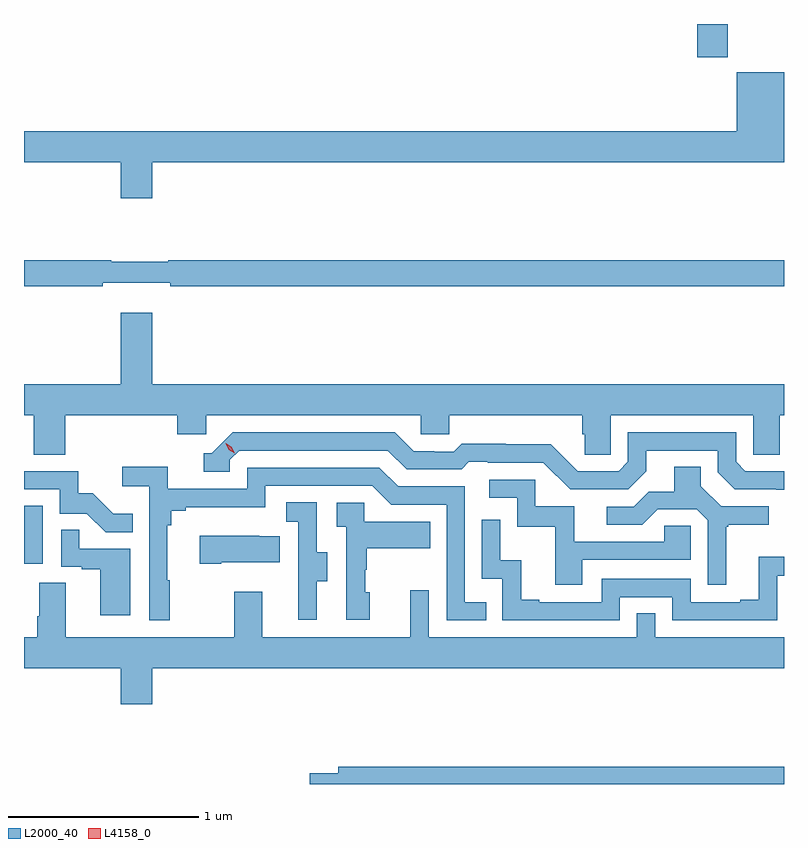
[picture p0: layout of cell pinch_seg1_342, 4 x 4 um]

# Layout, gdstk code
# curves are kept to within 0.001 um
import gdstk
lib = gdstk.Library(unit=1e-6, precision=1e-09)
def R(c, l, rs):  # rectangles x0, y0, x1, y1
    for r in rs: c.add(gdstk.rectangle(r[:2], r[2:], *l))
def P(c, l, *ps):  # polygons
    for p in ps: c.add(gdstk.Polygon(p, *l))
L2000_40 = (2000, 40)
L4158_0 = (4158, 0)

pinch_seg1_342 = lib.new_cell('pinch_seg1_342')
R(pinch_seg1_342, L2000_40, [(955.706,553.614,955.804,553.921), (959.249,556.281,959.409,556.456)])
P(pinch_seg1_342, L2000_40, [(956.38,555.728),(959.706,555.728),(959.706,556.201),(959.456,556.201),(959.456,555.892),(955.706,555.892),(955.706,555.728),(956.216,555.728),(956.216,555.54),(956.38,555.54)],
  [(956.12,555.095),(956.476,555.095),(956.476,555.076),(959.706,555.076),(959.706,555.212),(956.465,555.212),(956.465,555.205),(956.165,555.205),(956.165,555.212),(955.706,555.212),(955.706,555.076),(956.12,555.076)],
  [(955.922,554.396),(956.513,554.396),(956.513,554.298),(956.664,554.298),(956.664,554.396),(957.795,554.396),(957.795,554.298),(957.945,554.298),(957.945,554.396),(958.643,554.396),(958.643,554.298),(958.657,554.298),(958.657,554.188),(958.794,554.188),(958.794,554.396),(959.544,554.396),(959.544,554.188),(959.683,554.188),(959.683,554.396),(959.706,554.396),(959.706,554.56),(956.38,554.56),(956.38,554.935),(956.216,554.935),(956.216,554.56),(955.706,554.56),(955.706,554.396),(955.757,554.396),(955.757,554.188),(955.922,554.188)],
  [(959.706,554.103),(959.502,554.103),(959.454,554.151),(959.454,554.307),(958.884,554.307),(958.884,554.151),(958.836,554.103),(958.62,554.103),(958.478,554.245),(958.242,554.245),(958.242,554.248),(958.009,554.248),(957.967,554.205),(957.864,554.205),(957.864,554.208),(957.757,554.208),(957.658,554.307),(956.805,554.307),(956.694,554.196),(956.651,554.196),(956.651,554.1),(956.79,554.1),(956.79,554.163),(956.838,554.211),(957.621,554.211),(957.72,554.112),(958.009,554.112),(958.048,554.151),(958.147,554.151),(958.147,554.148),(958.44,554.148),(958.581,554.007),(958.887,554.007),(958.981,554.101),(958.981,554.211),(959.358,554.211),(959.358,554.097),(959.448,554.007),(959.706,554.006)],
  [(956.473,553.529),(956.461,553.529),(956.461,553.817),(956.48,553.817),(956.48,553.894),(956.557,553.894),(956.557,553.913),(956.976,553.913),(956.976,554.025),(957.54,554.025),(957.639,553.926),(957.93,553.926),(957.93,553.317),(958.139,553.317),(958.139,553.413),(958.026,553.413),(958.026,554.022),(957.676,554.022),(957.577,554.121),(956.88,554.121),(956.88,554.01),(956.462,554.01),(956.462,554.126),(956.223,554.126),(956.223,554.024),(956.364,554.024),(956.364,553.317),(956.473,553.317)],
  [(959.401,553.809),(959.413,553.809),(959.413,553.82),(959.626,553.82),(959.626,553.917),(959.376,553.917),(959.269,554.024),(959.269,554.126),(959.129,554.126),(959.129,553.994),(958.994,553.994),(958.914,553.914),(958.773,553.914),(958.773,553.821),(958.96,553.821),(959.041,553.902),(959.247,553.902),(959.304,553.845),(959.304,553.506),(959.401,553.506)],
  [(956.279,553.879),(956.175,553.879),(956.068,553.986),(955.992,553.986),(955.992,554.103),(955.706,554.103),(955.706,554.007),(955.893,554.007),(955.893,553.878),(956.037,553.878),(956.135,553.78),(956.279,553.78)],
  [(958.645,553.635),(959.214,553.635),(959.214,553.815),(959.077,553.815),(959.077,553.731),(958.603,553.731),(958.603,553.917),(958.398,553.917),(958.398,554.058),(958.155,554.058),(958.155,553.962),(958.302,553.962),(958.302,553.809),(958.501,553.809),(958.501,553.506),(958.645,553.506)],
  [(957.247,553.522),(957.301,553.522),(957.301,553.677),(957.246,553.677),(957.246,553.94),(957.087,553.94),(957.087,553.837),(957.15,553.837),(957.15,553.533),(957.149,553.533),(957.149,553.32),(957.247,553.32)],
  [(957.526,553.464),(957.501,553.464),(957.501,553.583),(957.511,553.583),(957.511,553.697),(957.845,553.697),(957.845,553.837),(957.498,553.837),(957.498,553.935),(957.351,553.935),(957.351,553.811),(957.402,553.811),(957.402,553.32),(957.526,553.32)],
  [(958.842,553.44),(959.118,553.44),(959.118,553.317),(959.67,553.317),(959.67,553.553),(959.706,553.553),(959.706,553.651),(959.573,553.651),(959.573,553.426),(959.477,553.426),(959.477,553.413),(959.214,553.413),(959.214,553.536),(958.746,553.536),(958.746,553.413),(958.417,553.413),(958.417,553.426),(958.322,553.426),(958.322,553.634),(958.212,553.634),(958.212,553.846),(958.116,553.846),(958.116,553.536),(958.224,553.536),(958.224,553.317),(958.842,553.317)],
  [(956.266,553.695),(955.997,553.695),(955.997,553.793),(955.902,553.793),(955.902,553.599),(956.009,553.599),(956.009,553.587),(956.108,553.587),(956.108,553.344),(956.266,553.344)],
  [(956.743,553.622),(957.053,553.622),(957.053,553.759),(956.945,553.759),(956.945,553.762),(956.631,553.762),(956.631,553.615),(956.743,553.615)],
  [(956.38,553.064),(959.706,553.064),(959.706,553.228),(959.028,553.228),(959.028,553.355),(958.932,553.355),(958.932,553.228),(957.837,553.228),(957.837,553.477),(957.74,553.477),(957.74,553.228),(956.959,553.228),(956.959,553.468),(956.812,553.468),(956.812,553.228),(955.927,553.228),(955.927,553.514),(955.787,553.514),(955.787,553.34),(955.775,553.34),(955.775,553.228),(955.706,553.228),(955.706,553.064),(956.216,553.064),(956.216,552.876),(956.38,552.876)],
  [(959.706,552.548),(957.359,552.548),(957.359,552.512),(957.21,552.512),(957.21,552.456),(959.706,552.456)])
P(pinch_seg1_342, L4158_0, [(956.814,554.197),(956.783,554.216),(956.767,554.249),(956.767,554.249),(956.767,554.249),(956.798,554.23),(956.814,554.197),(956.814,554.197)])

lib.write_gds('pinch_seg1_342.gds')
